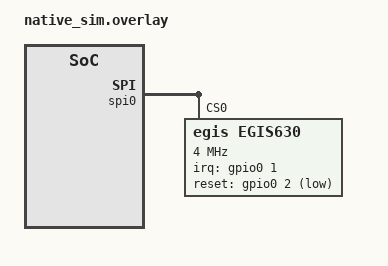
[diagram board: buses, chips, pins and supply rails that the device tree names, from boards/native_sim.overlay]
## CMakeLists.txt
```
# Copyright 2025 The ChromiumOS Authors
# Use of this source code is governed by a BSD-style license that can be
# found in the LICENSE file.

cmake_minimum_required(VERSION 3.13.1)
find_package(Zephyr REQUIRED HINTS "${ZEPHYR_BASE}")
project(egis630_test)

FILE(GLOB app_sources src/*.c)
target_sources(app PRIVATE ${app_sources})

# Add fingerprint drivers directory to include fingerprint_egis630_pal.h
target_include_directories(app PUBLIC ${PLATFORM_EC}/zephyr/drivers/fingerprint)
```

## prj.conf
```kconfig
# Copyright 2025 The ChromiumOS Authors
# Use of this source code is governed by a BSD-style license that can be
# found in the LICENSE file.

CONFIG_ZTEST=y
CONFIG_EMUL=y
CONFIG_GPIO=y
CONFIG_SPI=y
CONFIG_PM_DEVICE=y
CONFIG_FINGERPRINT_SENSOR=y
CONFIG_FINGERPRINT_SENSOR_EGIS630_PAL=y
CONFIG_APPLICATION_DEFINED_SYSCALL=y
CONFIG_UART_NATIVE_PTY_0_ON_STDINOUT=y
```

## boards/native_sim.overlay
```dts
/* Copyright 2025 The ChromiumOS Authors
 * Use of this source code is governed by a BSD-style license that can be
 * found in the LICENSE file.
 */

#define EGIS630_DEFAULT_IMAGE_PROPS \
	width = <80>; \
	height = <64>; \
	bits-per-pixel = <8>; \
	frame-size = <5120>; \
	image-data-offset-bytes = <0>; \
	v4l2-pixel-format = "V4L2_PIX_FMT_GREY";

#define EGIS630_TEST_IMAGE_PROPS \
	width = <80>; \
	height = <64>; \
	bits-per-pixel = <16>; \
	frame-size = <10240>; \
	image-data-offset-bytes = <0>; \
	v4l2-pixel-format = "V4L2_PIX_FMT_GREY";

/ {
	chosen {
		cros-fp,fingerprint-sensor = &egis630;
	};
};

&spi0 {
	egis630: egis630@0 {
		compatible = "egis,egis630";
		reg = <0>;
		spi-max-frequency = <4000000>;

		configs {
			compatible = "fingerprint-image-frame-params";
			config0 {
				EGIS630_DEFAULT_IMAGE_PROPS
				capture-type = "FINGERPRINT_CAPTURE_TYPE_SIMPLE_IMAGE";
			};
			config1 {
				EGIS630_TEST_IMAGE_PROPS
				capture-type = "FINGERPRINT_CAPTURE_TYPE_PATTERN0";
			};
			config2 {
				EGIS630_TEST_IMAGE_PROPS
				capture-type = "FINGERPRINT_CAPTURE_TYPE_PATTERN1";
			};
			config3 {
				EGIS630_TEST_IMAGE_PROPS
				capture-type = "FINGERPRINT_CAPTURE_TYPE_DEFECT_PXL_TEST";
			};
			config4 {
				EGIS630_TEST_IMAGE_PROPS
				capture-type = "FINGERPRINT_CAPTURE_TYPE_ABNORMAL_TEST";
			};
			config5 {
				EGIS630_TEST_IMAGE_PROPS
				capture-type = "FINGERPRINT_CAPTURE_TYPE_NOISE_TEST";
			};
			config6 {
				EGIS630_TEST_IMAGE_PROPS
				capture-type = "FINGERPRINT_CAPTURE_TYPE_QUALITY_TEST";
			};
		};

		irq-gpios = <&gpio0 1 GPIO_ACTIVE_HIGH>;
		reset-gpios = <&gpio0 2 GPIO_ACTIVE_LOW>;
	};
};
```

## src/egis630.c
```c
/* Copyright 2025 The ChromiumOS Authors
 * Use of this source code is governed by a BSD-style license that can be
 * found in the LICENSE file.
 */

#include "egis630_pal_test_helpers.h"

#include <zephyr/device.h>
#include <zephyr/devicetree.h>
#include <zephyr/drivers/emul.h>
#include <zephyr/drivers/gpio.h>
#include <zephyr/drivers/gpio/gpio_emul.h>
#include <zephyr/fff.h>
#include <zephyr/sys/byteorder.h>
#include <zephyr/sys/util.h>
#include <zephyr/ztest.h>
#include <zephyr/ztest_assert.h>

#include <drivers/fingerprint.h>
#include <emul/emul_egis630.h>
#include <fingerprint/v4l2_types.h>
#include <fingerprint_egis630.h>
#include <fingerprint_egis630_private.h>

DEFINE_FFF_GLOBALS;

extern char printf_buffer[256];
extern LOG_LEVEL g_log_level;
struct egis630_fixture {
	const struct device *dev;
	const struct emul *target;
};

static void *egis630_setup(void)
{
	static struct egis630_fixture fixture = {
		.dev = DEVICE_DT_GET(DT_NODELABEL(egis630)),
		.target = EMUL_DT_GET(DT_NODELABEL(egis630)),
	};

	zassert_not_null(fixture.dev);
	zassert_not_null(fixture.target);
	return &fixture;
}

static void egis630_before(void *data)
{
	memset(printf_buffer, 0, sizeof(printf_buffer));
	g_log_level = LOG_INFO;

	return;
}

/* Maps Egis image capture errors to fingerprint errors. */
int convert_egis_get_image_error_code(egis_api_return_t code);

/* Converts capture types from the ec domain to the egis domain. */
egis_capture_mode_t convert_fp_capture_type_to_egis_capture_type(
	enum fingerprint_capture_type capture_type);

/* Converts Egis sensor initialization error to a generic sensor error code. */
uint16_t convert_egis_sensor_init_error_code(egis_api_return_t code);

#define EGIS630_IMAGE_FRAME_PARAM_INITIALIZER(idx, node_id)                 \
	{                                                                   \
		.frame_size = FINGERPRINT_SENSOR_FRAME_SIZE(idx, node_id),  \
		.image_data_offset_bytes =                                  \
			FINGERPRINT_SENSOR_IMAGE_OFFSET(idx, node_id),      \
		.pixel_format =                                             \
			FINGERPRINT_SENSOR_V4L2_PIXEL_FORMAT(idx, node_id), \
		.width = FINGERPRINT_SENSOR_RES_X(idx, node_id),            \
		.height = FINGERPRINT_SENSOR_RES_Y(idx, node_id),           \
		.bpp = FINGERPRINT_SENSOR_RES_BPP(idx, node_id),            \
		.fp_capture_type =                                          \
			FINGERPRINT_SENSOR_CAPTURE_TYPE(idx, node_id),      \
		.reserved = 0,                                              \
	}

static const struct fingerprint_image_frame_params
	expected_image_frame_params_array[] = { LISTIFY(
		NUM_IMAGE_CAPTURE_TYPES, EGIS630_IMAGE_FRAME_PARAM_INITIALIZER,
		(, ), DT_NODELABEL(egis630)) };

ZTEST_SUITE(egis630, NULL, egis630_setup, egis630_before, NULL, NULL);

ZTEST_F(egis630, test_init_success)
{
	zassert_ok(fingerprint_init(fixture->dev));
}

ZTEST_F(egis630, test_deinit_success)
{
	zassert_ok(fingerprint_deinit(fixture->dev));
}

ZTEST_F(egis630, test_convert_egis_get_image_error_code)
{
	zassert_equal(
		convert_egis_get_image_error_code(EGIS_API_IMAGE_QUALITY_GOOD),
		FINGERPRINT_SENSOR_SCAN_GOOD);
	zassert_equal(
		convert_egis_get_image_error_code(EGIS_API_IMAGE_QUALITY_BAD),
		FINGERPRINT_SENSOR_SCAN_LOW_IMAGE_QUALITY);
	zassert_equal(
		convert_egis_get_image_error_code(EGIS_API_IMAGE_QUALITY_WATER),
		FINGERPRINT_SENSOR_SCAN_LOW_IMAGE_QUALITY);
	zassert_equal(convert_egis_get_image_error_code(EGIS_API_IMAGE_EMPTY),
		      FINGERPRINT_SENSOR_SCAN_TOO_FAST);
	zassert_equal(convert_egis_get_image_error_code(
			      EGIS_API_IMAGE_QUALITY_PARTIAL),
		      FINGERPRINT_SENSOR_SCAN_LOW_SENSOR_COVERAGE);
	zassert_equal(convert_egis_get_image_error_code(-3), -3);
}

ZTEST_F(egis630, test_convert_egis_sensor_init_error_code)
{
	zassert_equal(
		convert_egis_sensor_init_error_code(EGIS_API_ERROR_IO_SPI),
		FINGERPRINT_ERROR_SPI_COMM);
	zassert_equal(convert_egis_sensor_init_error_code(
			      EGIS_API_ERROR_DEVICE_NOT_FOUND),
		      FINGERPRINT_ERROR_BAD_HWID);
	zassert_equal(convert_egis_sensor_init_error_code(EGIS_API_OK), 0);
	zassert_equal(convert_egis_sensor_init_error_code(EGIS_API_ERROR),
		      FINGERPRINT_ERROR_INIT_FAIL);
}

ZTEST_F(egis630, test_get_info)
{
	struct fingerprint_sensor_info sensor_info;
	struct fingerprint_image_frame_params
		image_frame_params_array[NUM_IMAGE_CAPTURE_TYPES];
	uint8_t num_params = NUM_IMAGE_CAPTURE_TYPES;

	zassert_ok(fingerprint_init(fixture->dev));
	zassert_ok(fingerprint_get_info(fixture->dev, &sensor_info,
					image_frame_params_array, &num_params));
	zassert_equal(
		num_params, NUM_IMAGE_CAPTURE_TYPES,
		"fingerprint_get_info returned an unexpected number of params");

	zassert_equal(sensor_info.vendor_id, FOURCC('E', 'G', 'I', 'S'));
	zassert_equal(sensor_info.product_id, 9);
	zassert_equal(sensor_info.version, 1);
	zassert_equal(sensor_info.errors,
		      FINGERPRINT_ERROR_DEAD_PIXELS_UNKNOWN);

	for (int i = 0; i < NUM_IMAGE_CAPTURE_TYPES; ++i) {
		zassert_equal(
			memcmp(&image_frame_params_array[i],
			       &expected_image_frame_params_array[i],
			       sizeof(struct fingerprint_image_frame_params)),
			0, "Struct comparison failed at index %d", i);
	}
}

ZTEST_F(egis630, test_enter_idle)
{
	zassert_ok(fingerprint_set_mode(fixture->dev,
					FINGERPRINT_SENSOR_MODE_IDLE));
}

ZTEST_F(egis630, test_invalid_mode_not_supported)
{
	zassert_equal(fingerprint_set_mode(fixture->dev, UINT16_MAX), -ENOTSUP);
}

ZTEST_F(egis630, test_maintenance_not_supported)
{
	uint8_t buffer[CONFIG_FINGERPRINT_SENSOR_IMAGE_SIZE];

	zassert_equal(fingerprint_maintenance(fixture->dev, buffer,
					      sizeof(buffer)),
		      -ENOTSUP);
}

ZTEST_F(egis630, test_maintenance_image_small_buffer_size)
{
	uint8_t buffer[CONFIG_FINGERPRINT_SENSOR_IMAGE_SIZE - 1];

	zassert_equal(fingerprint_maintenance(fixture->dev, buffer,
					      sizeof(buffer)),
		      -EINVAL);
}

ZTEST_F(egis630, test_finger_status_not_supported)
{
	zassert_equal(fingerprint_finger_status(fixture->dev), -ENOTSUP);
}

ZTEST_F(egis630, test_convert_fp_capture_type_to_egis_capture_type)
{
	zassert_equal(convert_fp_capture_type_to_egis_capture_type(
			      FINGERPRINT_CAPTURE_TYPE_VENDOR_FORMAT),
		      EGIS_CAPTURE_IMAGE_COLLECTION);
	zassert_equal(convert_fp_capture_type_to_egis_capture_type(
			      FINGERPRINT_CAPTURE_TYPE_SIMPLE_IMAGE),
		      EGIS_CAPTURE_NORMAL_FORMAT);
	zassert_equal(convert_fp_capture_type_to_egis_capture_type(
			      FINGERPRINT_CAPTURE_TYPE_PATTERN0),
		      EGIS_CAPTURE_BLACK_PXL_TEST);
	zassert_equal(convert_fp_capture_type_to_egis_capture_type(
			      FINGERPRINT_CAPTURE_TYPE_PATTERN1),
		      EGIS_CAPTURE_WHITE_PXL_TEST);
	zassert_equal(convert_fp_capture_type_to_egis_capture_type(
			      FINGERPRINT_CAPTURE_TYPE_QUALITY_TEST),
		      EGIS_CAPTURE_RV_INT_TEST);
	zassert_equal(convert_fp_capture_type_to_egis_capture_type(
			      FINGERPRINT_CAPTURE_TYPE_DEFECT_PXL_TEST),
		      EGIS_CAPTURE_DEFECT_PXL_TEST);
	zassert_equal(convert_fp_capture_type_to_egis_capture_type(
			      FINGERPRINT_CAPTURE_TYPE_ABNORMAL_TEST),
		      EGIS_CAPTURE_ABNORMAL_TEST);
	zassert_equal(convert_fp_capture_type_to_egis_capture_type(
			      FINGERPRINT_CAPTURE_TYPE_NOISE_TEST),
		      EGIS_CAPTURE_NOISE_TEST);
	zassert_equal(convert_fp_capture_type_to_egis_capture_type(
			      FINGERPRINT_CAPTURE_TYPE_RESET_TEST),
		      EGIS_CAPTURE_TYPE_INVALID);
	zassert_equal(convert_fp_capture_type_to_egis_capture_type(
			      FINGERPRINT_CAPTURE_TYPE_MAX),
		      EGIS_CAPTURE_TYPE_INVALID);
}

ZTEST_F(egis630, test_acquire_image_small_buffer_size)
{
	uint8_t buffer[CONFIG_FINGERPRINT_SENSOR_IMAGE_SIZE] = { 0 };
	size_t image_buf_size = CONFIG_FINGERPRINT_SENSOR_IMAGE_SIZE - 1;
	enum fingerprint_capture_type capture_type =
		FINGERPRINT_CAPTURE_TYPE_VENDOR_FORMAT;

	zassert_equal(fingerprint_acquire_image(fixture->dev, capture_type,
						buffer, image_buf_size),
		      -EINVAL);
}

ZTEST_F(egis630, test_acquire_image_not_supported)
{
	uint8_t buffer[CONFIG_FINGERPRINT_SENSOR_IMAGE_SIZE];
	enum fingerprint_capture_type capture_type =
		FINGERPRINT_CAPTURE_TYPE_RESET_TEST;

	zassert_equal(fingerprint_acquire_image(fixture->dev, capture_type,
						buffer, sizeof(buffer)),
		      -EINVAL);
}

ZTEST_F(egis630, test_acquire_image_wrong_capture_type)
{
	uint8_t buffer[CONFIG_FINGERPRINT_SENSOR_IMAGE_SIZE] = { 0 };
	enum fingerprint_capture_type capture_type =
		FINGERPRINT_CAPTURE_TYPE_MAX;

	zassert_equal(fingerprint_acquire_image(fixture->dev, capture_type,
						buffer, sizeof(buffer)),
		      -EINVAL);
}

ZTEST_F(egis630, test_plat_get_time)
{
	uint64_t time_msecs = egis630_plat_get_time();
	uint64_t ecpected_time_mecs = k_uptime_get();
	zassert_equal(time_msecs, ecpected_time_mecs);
}

ZTEST_F(egis630, test_plat_wait_time)
{
	uint64_t msecs = 30;
	uint64_t tick_msecs = 1000 / CONFIG_SYS_CLOCK_TICKS_PER_SEC;
	uint64_t t1, t2;

	t1 = k_uptime_get();
	egis630_plat_wait_time(msecs);
	t2 = k_uptime_get();

	zassert_within(t2 - t1, msecs, tick_msecs);
}

ZTEST_F(egis630, test_plat_sleep_time)
{
	uint64_t msecs = 30;
	uint64_t tick_msecs = 1000 / CONFIG_SYS_CLOCK_TICKS_PER_SEC;
	uint64_t t1, t2;

	t1 = k_uptime_get();
	egis630_plat_sleep_time(msecs);
	t2 = k_uptime_get();

	zassert_within(t2 - t1, msecs, tick_msecs);
}

ZTEST_F(egis630, test_plat_get_diff_time)
{
	uint64_t begin_time_msec;
	uint64_t time_delta_msecs;
	uint64_t t1;

	begin_time_msec = k_uptime_get();
	k_msleep(30);
	t1 = k_uptime_get();
	time_delta_msecs = egis630_plat_get_diff_time(begin_time_msec);

	zassert_equal(time_delta_msecs, t1 - begin_time_msec);
}

ZTEST_F(egis630, test_sys_alloc_normal)
{
	size_t size = sizeof(int);
	void *void_ptr = sys_alloc(1, size);
	zassert_not_null(void_ptr, "sys_alloc should return a valid pointer");

	int *int_ptr = (int *)void_ptr;
	int num = 4546;
	*int_ptr = num;
	zassert_equal(*int_ptr, num);

	sys_free(void_ptr);
}

ZTEST_F(egis630, test_periphery_spi_write_read_success)
{
	uint8_t tx_buf[1] = { 0xFD };
	uint8_t rx_buf[3] = { 0 };
	uint8_t expeceted_rx_buf[3] = { 0x1, 0x1E, 0x6 };

	zassert_ok(fingerprint_init(fixture->dev));
	zassert_ok(egis630_periphery_spi_write_read(tx_buf, sizeof(tx_buf),
						    rx_buf, sizeof(rx_buf)));
	zassert_mem_equal(rx_buf, expeceted_rx_buf, sizeof(expeceted_rx_buf),
			  "Received data does not match sent data");
}

ZTEST_F(egis630, test_periphery_spi_write_read_spi_stopped)
{
	uint8_t tx_buf[1] = { 0xFD };
	uint8_t rx_buf[3] = { 0 };

	zassert_ok(fingerprint_init(fixture->dev));
	egis630_stop_spi(fixture->target);
	zassert_equal(egis630_periphery_spi_write_read(tx_buf, sizeof(tx_buf),
						       rx_buf, sizeof(rx_buf)),
		      -EIO);
}

ZTEST_F(egis630, test_output_log_success_info)
{
	char expected_printf_buffer[sizeof(printf_buffer)];

	memset(expected_printf_buffer, 0, sizeof(expected_printf_buffer));
	snprintf(expected_printf_buffer, sizeof(expected_printf_buffer),
		 "<func:10> info 5.43");

	output_log(LOG_INFO, "tag", "file", "func", 10, "info %.2f", 5.43);

	zassert_mem_equal(printf_buffer, expected_printf_buffer,
			  sizeof(printf_buffer),
			  "LOG message not match expected message");
}

ZTEST_F(egis630, test_output_log_success_warn)
{
	char expected_printf_buffer[sizeof(printf_buffer)];

	memset(expected_printf_buffer, 0, sizeof(expected_printf_buffer));
	snprintf(expected_printf_buffer, sizeof(expected_printf_buffer),
		 "<func:10> warn 7.6");

	output_log(LOG_WARN, "tag", "file", "func", 10, "warn %.1f", 7.6);
	zassert_mem_equal(printf_buffer, expected_printf_buffer,
			  sizeof(printf_buffer),
			  "LOG message not match expected message");
}

ZTEST_F(egis630, test_output_log_success_error)
{
	char expected_printf_buffer[sizeof(printf_buffer)];

	memset(expected_printf_buffer, 0, sizeof(expected_printf_buffer));
	snprintf(expected_printf_buffer, sizeof(expected_printf_buffer),
		 "<func:10> error 2.1");

	output_log(LOG_ERROR, "tag", "file", "func", 10, "error %.1f", 2.1);
	zassert_mem_equal(printf_buffer, expected_printf_buffer,
			  sizeof(printf_buffer),
			  "LOG message not match expected message");
}

ZTEST_F(egis630, test_output_log_success_assert)
{
	char expected_printf_buffer[sizeof(printf_buffer)];

	memset(expected_printf_buffer, 0, sizeof(expected_printf_buffer));
	snprintf(expected_printf_buffer, sizeof(expected_printf_buffer),
		 "<func:10> assert 3.1");

	output_log(LOG_WARN, "tag", "file", "func", 10, "assert %.1f", 3.1);
	zassert_mem_equal(printf_buffer, expected_printf_buffer,
			  sizeof(printf_buffer),
			  "LOG message not match expected message");
}

ZTEST_F(egis630, test_output_log_format_NULL)
{
	output_log(LOG_INFO, "tag", "file", "func", 10, NULL);
	zassert_equal(printf_buffer[0], '\0');
}

ZTEST_F(egis630, test_output_log_format_no_logging_info_greater_than_verbose)
{
	output_log(LOG_VERBOSE, "tag", "file", "func", 10, "info %.1f", 3.1);
	zassert_equal(printf_buffer[0], '\0');
}

ZTEST_F(egis630, test_output_log_format_no_logging_info_greater_than_debug)
{
	output_log(LOG_DEBUG, "tag", "file", "func", 10, "info %.1f", 2.1f);
	zassert_equal(printf_buffer[0], '\0');
}

ZTEST_F(egis630, test_set_debug_level_success_verbose)
{
	egis630_set_debug_level(LOG_VERBOSE);
	zassert_equal(g_log_level, LOG_VERBOSE);

	char expected_printf_buffer[sizeof(printf_buffer)];

	memset(expected_printf_buffer, 0, sizeof(expected_printf_buffer));
	snprintf(expected_printf_buffer, sizeof(expected_printf_buffer),
		 "<:0> set_debug_level 2");
	zassert_mem_equal(printf_buffer, expected_printf_buffer,
			  sizeof(printf_buffer),
			  "LOG message not match expected message");
}

ZTEST_F(egis630, test_set_debug_level_success_debug)
{
	egis630_set_debug_level(LOG_DEBUG);
	zassert_equal(g_log_level, LOG_DEBUG);

	char expected_printf_buffer[sizeof(printf_buffer)];

	memset(expected_printf_buffer, 0, sizeof(expected_printf_buffer));
	snprintf(expected_printf_buffer, sizeof(expected_printf_buffer),
		 "<:0> set_debug_level 3");
	zassert_mem_equal(printf_buffer, expected_printf_buffer,
			  sizeof(printf_buffer),
			  "LOG message not match expected message");
}

ZTEST_F(egis630, test_set_debug_level_success_info)
{
	egis630_set_debug_level(LOG_INFO);
	zassert_equal(g_log_level, LOG_INFO);

	char expected_printf_buffer[sizeof(printf_buffer)];

	memset(expected_printf_buffer, 0, sizeof(expected_printf_buffer));
	snprintf(expected_printf_buffer, sizeof(expected_printf_buffer),
		 "<:0> set_debug_level 4");
	zassert_mem_equal(printf_buffer, expected_printf_buffer,
			  sizeof(printf_buffer),
			  "LOG message not match expected message");
}

ZTEST_F(egis630, test_set_debug_level_success_warn)
{
	egis630_set_debug_level(LOG_WARN);
	zassert_equal(g_log_level, LOG_WARN);

	char expected_printf_buffer[sizeof(printf_buffer)];

	memset(expected_printf_buffer, 0, sizeof(expected_printf_buffer));
	snprintf(expected_printf_buffer, sizeof(expected_printf_buffer),
		 "<:0> set_debug_level 5");
	zassert_mem_equal(printf_buffer, expected_printf_buffer,
			  sizeof(printf_buffer),
			  "LOG message not match expected message");
}

ZTEST_F(egis630, test_set_debug_level_success_error)
{
	egis630_set_debug_level(LOG_ERROR);
	zassert_equal(g_log_level, LOG_ERROR);

	char expected_printf_buffer[sizeof(printf_buffer)];

	memset(expected_printf_buffer, 0, sizeof(expected_printf_buffer));
	snprintf(expected_printf_buffer, sizeof(expected_printf_buffer),
		 "<:0> set_debug_level 6");
	zassert_mem_equal(printf_buffer, expected_printf_buffer,
			  sizeof(printf_buffer),
			  "LOG message not match expected message");
}

ZTEST_F(egis630, test_set_debug_level_success_assert)
{
	egis630_set_debug_level(LOG_ASSERT);
	zassert_equal(g_log_level, LOG_ASSERT);

	zassert_equal(printf_buffer[0], '\0');
}

ZTEST_F(egis630, test_PLAT_FREE_success)
{
	int num = 1234;
	int *ptr = (int *)sys_alloc(1, sizeof(int));
	*ptr = num;

	zassert_not_null(ptr);
	zassert_equal(*ptr, num);

	PLAT_FREE((void **)&ptr);
	zassert_is_null(ptr);
}

ZTEST_F(egis630, test_egis630_rbs_check_if_null_error)
{
	int error_code = 123;
	char expected_printf_buffer[sizeof(printf_buffer)];

	memset(expected_printf_buffer, 0, sizeof(expected_printf_buffer));
	snprintf(expected_printf_buffer, sizeof(expected_printf_buffer),
		 "<z_impl_egis630_rbs_check_if_null:53> "
		 "z_impl_egis630_rbs_check_if_null, ptr is NULL");

	int result = egis630_rbs_check_if_null(NULL, error_code);

	zassert_equal(result, error_code);
	zassert_mem_equal(printf_buffer, expected_printf_buffer,
			  sizeof(printf_buffer),
			  "LOG message not match expected message");
}

ZTEST_F(egis630, test_egis630_rbs_check_if_null_no_error)
{
	int error_code = 123;
	int buffer[8] = { 0 };

	int result = egis630_rbs_check_if_null(buffer, error_code);

	zassert_equal(result, 0);
	zassert_equal(printf_buffer[0], '\0');
}

ZTEST_F(egis630, test_egislog_e)
{
	egislog_e("The output is %d and %.1f", 6, 2.3);
	char expected_printf_buffer[sizeof(printf_buffer)];
	memset(expected_printf_buffer, 0, sizeof(expected_printf_buffer));
	snprintf(expected_printf_buffer, sizeof(expected_printf_buffer),
		 "<egis630_test_egislog_e:%d> The output is 6 and 2.3",
		 __LINE__ - 5);
	zassert_mem_equal(printf_buffer, expected_printf_buffer,
			  sizeof(printf_buffer),
			  "LOG message not match expected message");
}

ZTEST_F(egis630, test_egislog_d)
{
	egislog_d("The output is %d and %.1f", 6, 2.3);
	zassert_equal(printf_buffer[0], '\0');
}

ZTEST_F(egis630, test_egislog_i)
{
	egislog_i("The output is %d and %.1f", 6, 2.3);
	char expected_printf_buffer[sizeof(printf_buffer)];
	memset(expected_printf_buffer, 0, sizeof(expected_printf_buffer));
	snprintf(expected_printf_buffer, sizeof(expected_printf_buffer),
		 "<egis630_test_egislog_i:%d> The output is 6 and 2.3",
		 __LINE__ - 5);
	zassert_mem_equal(printf_buffer, expected_printf_buffer,
			  sizeof(printf_buffer),
			  "LOG message not match expected message");
}

ZTEST_F(egis630, test_egislog_v)
{
	egislog_v("The output is %d and %.1f", 6, 2.3);
	zassert_equal(printf_buffer[0], '\0');
}
```

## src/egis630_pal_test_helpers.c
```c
/* Copyright 2025 The ChromiumOS Authors
 * Use of this source code is governed by a BSD-style license that can be
 * found in the LICENSE file.
 */

#include "egis630_pal_test_helpers.h"

uint64_t z_impl_egis630_plat_get_time(void)
{
	return plat_get_time();
}

void z_impl_egis630_plat_wait_time(uint32_t msec)
{
	return plat_wait_time(msec);
}

void z_impl_egis630_plat_sleep_time(uint32_t timeInMs)
{
	return plat_sleep_time(timeInMs);
}

uint32_t z_impl_egis630_plat_get_diff_time(uint64_t begin)
{
	return plat_get_diff_time(begin);
}

void *z_impl_egis630_sys_alloc(size_t count, size_t size)
{
	return sys_alloc(count, size);
}

int z_impl_egis630_periphery_spi_write_read(uint8_t *write, uint32_t size,
					    uint8_t *read, uint32_t rx_len)
{
	return periphery_spi_write_read(write, size, read, rx_len);
}

void z_impl_egis630_output_log(LOG_LEVEL level, const char *tag,
			       const char *file_path, const char *func,
			       int line, const char *format)
{
	return output_log(level, tag, file_path, func, line, format);
}

void z_impl_egis630_set_debug_level(LOG_LEVEL level)
{
	return set_debug_level(level);
}

int z_impl_egis630_rbs_check_if_null(void *ptr, int error_code)
{
	RBS_CHECK_IF_NULL(ptr, error_code);
	return 0; // Return 0 if ptr is not NULL
}
```

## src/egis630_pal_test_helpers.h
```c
/* Copyright 2025 The ChromiumOS Authors
 * Use of this source code is governed by a BSD-style license that can be
 * found in the LICENSE file.
 */

#ifndef ZEPHYR_TEST_DRIVERS_EGIS630_SRC_TEST_HELPERS_H_
#define ZEPHYR_TEST_DRIVERS_EGIS630_SRC_TEST_HELPERS_H_

#include <zephyr/kernel.h>

#include <fingerprint_egis630_pal.h>

__syscall uint64_t egis630_plat_get_time(void);
__syscall void egis630_plat_wait_time(uint32_t mecs);
__syscall void egis630_plat_sleep_time(uint32_t timeInMs);
__syscall uint32_t egis630_plat_get_diff_time(uint64_t begin);
__syscall void *egis630_sys_alloc(size_t count, size_t size);
__syscall int egis630_periphery_spi_write_read(uint8_t *write, uint32_t size,
					       uint8_t *read, uint32_t rx_len);
__syscall void egis630_set_debug_level(LOG_LEVEL level);
__syscall int egis630_rbs_check_if_null(void *ptr, int error_code);

#include <zephyr/syscalls/egis630_pal_test_helpers.h>

#endif /* ZEPHYR_TEST_DRIVERS_EGIS630_SRC_TEST_HELPERS_H_ */
```
